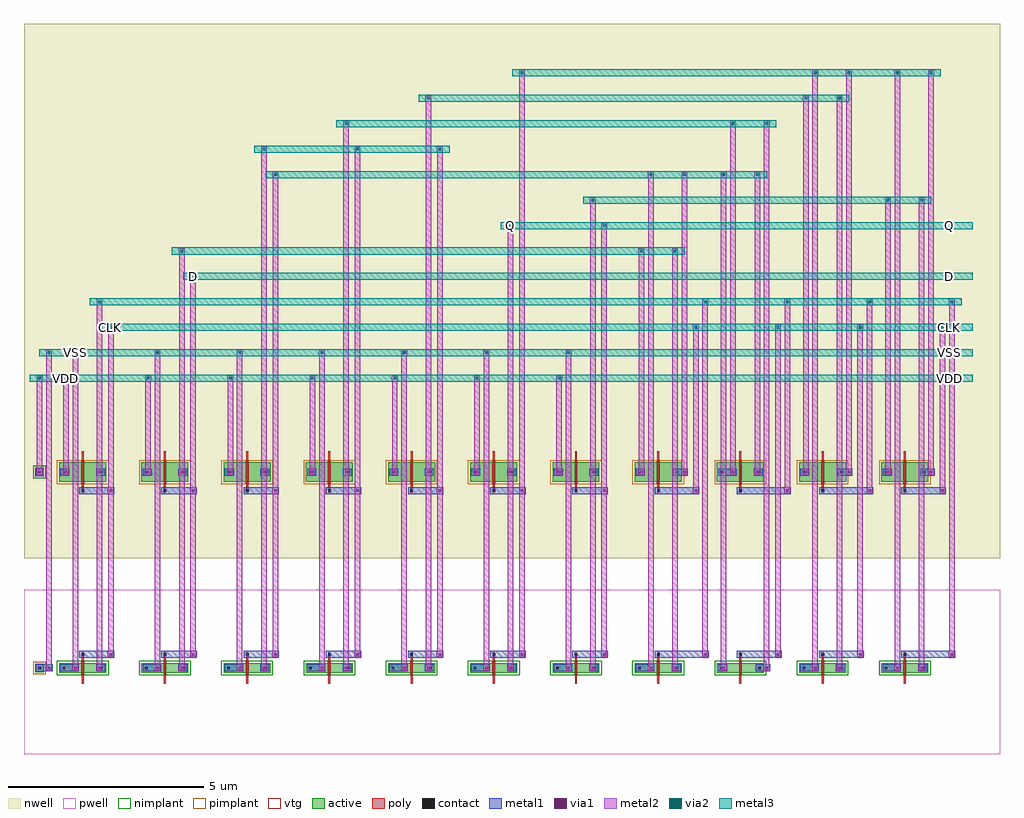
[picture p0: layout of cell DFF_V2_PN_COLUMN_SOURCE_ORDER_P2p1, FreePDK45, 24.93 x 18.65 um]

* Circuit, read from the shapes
.subckt DFF_V2_PN_COLUMN_SOURCE_ORDER_P2p1 CLK D Q VDD VSS
M1 n1 CLK VSS VSS nfet w=0.25u l=0.05u
M2 n2 D VSS VSS nfet w=0.25u l=0.05u
M3 n3 n4 VSS VSS nfet w=0.25u l=0.05u
M4 n5 n3 VSS VSS nfet w=0.25u l=0.05u
M5 n6 n3 VSS VSS nfet w=0.25u l=0.05u
M6 Q n7 VSS VSS nfet w=0.25u l=0.05u
M7 n8 Q VSS VSS nfet w=0.25u l=0.05u
M8 n2 n1 n4 VSS nfet w=0.25u l=0.05u
M9 n5 CLK n4 VSS nfet w=0.25u l=0.05u
M10 n6 CLK n7 VSS nfet w=0.25u l=0.05u
M11 n8 n1 n7 VSS nfet w=0.25u l=0.05u
M12 n1 CLK VDD VDD pfet w=0.5u l=0.05u
M13 n2 D VDD VDD pfet w=0.5u l=0.05u
M14 n3 n4 VDD VDD pfet w=0.5u l=0.05u
M15 n5 n3 VDD VDD pfet w=0.5u l=0.05u
M16 n6 n3 VDD VDD pfet w=0.5u l=0.05u
M17 Q n7 VDD VDD pfet w=0.5u l=0.05u
M18 n8 Q VDD VDD pfet w=0.5u l=0.05u
M19 n4 CLK n2 VDD pfet w=0.5u l=0.05u
M20 n4 n1 n5 VDD pfet w=0.5u l=0.05u
M21 n7 n1 n6 VDD pfet w=0.5u l=0.05u
M22 n7 CLK n8 VDD pfet w=0.5u l=0.05u
.ends

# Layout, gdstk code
import gdstk
lib = gdstk.Library(unit=1e-6, precision=5e-10)
def R(c, l, rs):  # rectangles x0, y0, x1, y1
    for r in rs: c.add(gdstk.rectangle(r[:2], r[2:], *l))
def A(c, l, x, y, w, h, nx, ny, dx, dy):  # array of equal rectangles
    R(c, l, [(x+i*dx, y+j*dy, x+i*dx+w, y+j*dy+h) for i in range(nx) for j in range(ny)])
active = (1, 0)
pwell = (2, 0)
nwell = (3, 0)
nimplant = (4, 0)
pimplant = (5, 0)
vtg = (6, 0)
poly = (9, 0)
contact = (10, 0)
metal1 = (11, 0)
via1 = (12, 0)
metal2 = (13, 0)
via2 = (14, 0)
metal3 = (15, 0)

dff_v2_pn_column_source_ = lib.new_cell('DFF_V2_PN_COLUMN_SOURCE_ORDER_P2p1')
A(dff_v2_pn_column_source_, active, 0.6, 1.875, 1.2, 0.25, 11, 1, 2.1, 0)
A(dff_v2_pn_column_source_, active, 0.6, 6.75, 1.2, 0.5, 11, 1, 2.1, 0)
R(dff_v2_pn_column_source_, active, [(-0.01,1.89,0.21,2.11), (-0.01,6.89,0.21,7.11)])
R(dff_v2_pn_column_source_, pwell, [(-0.3,-0.2,24.63,4)])
R(dff_v2_pn_column_source_, nwell, [(-0.3,4.8,24.63,18.45)])
A(dff_v2_pn_column_source_, nimplant, 0.54, 1.815, 1.32, 0.37, 11, 1, 2.1, 0)
R(dff_v2_pn_column_source_, nimplant, [(-0.06,6.84,0.26,7.16)])
A(dff_v2_pn_column_source_, pimplant, 0.54, 6.69, 1.32, 0.62, 11, 1, 2.1, 0)
R(dff_v2_pn_column_source_, pimplant, [(-0.06,1.84,0.26,2.16)])
A(dff_v2_pn_column_source_, vtg, 1.165, 1.845, 0.07, 0.31, 11, 1, 2.1, 0)
A(dff_v2_pn_column_source_, vtg, 1.165, 6.72, 0.07, 0.56, 11, 1, 2.1, 0)
A(dff_v2_pn_column_source_, poly, 1.175, 1.595, 0.05, 0.81, 11, 1, 2.1, 0)
A(dff_v2_pn_column_source_, poly, 1.175, 6.47, 0.05, 1.06, 11, 1, 2.1, 0)
A(dff_v2_pn_column_source_, contact, 1.17, 2.315, 0.065, 0.065, 11, 2, 2.1, 4.185)
R(dff_v2_pn_column_source_, contact, [(0.07,1.97,0.135,2.035), (0.69,1.97,0.755,2.035), (1.65,1.97,1.715,2.035), (2.79,1.97,2.855,2.035), (3.75,1.97,3.815,2.035), (4.89,1.97,4.955,2.035), (5.85,1.97,5.915,2.035), (6.99,1.97,7.055,2.035), (7.95,1.97,8.015,2.035), (9.09,1.97,9.155,2.035), (10.05,1.97,10.115,2.035), (11.19,1.97,11.255,2.035), (12.15,1.97,12.215,2.035), (13.29,1.97,13.355,2.035), (14.25,1.97,14.315,2.035), (15.39,1.97,15.455,2.035), (16.35,1.97,16.415,2.035), (17.49,1.97,17.555,2.035), (18.45,1.97,18.515,2.035), (19.59,1.97,19.655,2.035), (20.55,1.97,20.615,2.035), (21.69,1.97,21.755,2.035), (22.65,1.97,22.715,2.035), (0.07,6.97,0.135,7.035), (0.69,6.97,0.755,7.035), (1.65,6.97,1.715,7.035), (2.79,6.97,2.855,7.035), (3.75,6.97,3.815,7.035), (4.89,6.97,4.955,7.035), (5.85,6.97,5.915,7.035), (6.99,6.97,7.055,7.035), (7.95,6.97,8.015,7.035), (9.09,6.97,9.155,7.035), (10.05,6.97,10.115,7.035), (11.19,6.97,11.255,7.035), (12.15,6.97,12.215,7.035), (13.29,6.97,13.355,7.035), (14.25,6.97,14.315,7.035), (15.39,6.97,15.455,7.035), (16.35,6.97,16.415,7.035), (17.49,6.97,17.555,7.035), (18.45,6.97,18.515,7.035), (19.59,6.97,19.655,7.035), (20.55,6.97,20.615,7.035), (21.69,6.97,21.755,7.035), (22.65,6.97,22.715,7.035)])
A(dff_v2_pn_column_source_, metal1, 0.77, 1.91, 0.24, 0.18, 8, 1, 2.1, 0)
A(dff_v2_pn_column_source_, metal1, 1.2, 2.255, 0.72, 0.18, 7, 2, 2.1, 4.185)
R(dff_v2_pn_column_source_, metal1, [(0,1.9,0.2,2.1), (0.1,1.91,0.34,2.09), (0.1,1.91,0.34,2.09), (0.1,1.91,0.34,2.09), (0.1,1.91,0.34,2.09), (0.1,1.91,0.34,2.09), (0.1,1.91,0.34,2.09), (0.1,1.91,0.34,2.09), (0.1,1.91,0.34,2.09), (0.1,1.91,0.34,2.09), (0.1,1.91,0.34,2.09), (0.1,1.91,0.34,2.09), (0.1,1.91,0.34,2.09), (0.25,1.91,0.43,2.09), (0.25,1.91,0.43,2.09), (0.25,1.91,0.43,2.09), (0.25,1.91,0.43,2.09), (0.25,1.91,0.43,2.09), (0.25,1.91,0.43,2.09), (0.25,1.91,0.43,2.09), (0.25,1.91,0.43,2.09), (0.25,1.91,0.43,2.09), (0.25,1.91,0.43,2.09), (0.25,1.91,0.43,2.09), (0.25,1.91,0.43,2.09), (0.63,1.91,0.81,2.09), (0.92,1.91,1.1,2.09), (1.54,1.91,1.72,2.09), (1.59,1.91,1.77,2.09), (2.73,1.91,2.91,2.09), (3.02,1.91,3.2,2.09), (3.64,1.91,3.82,2.09), (3.69,1.91,3.87,2.09), (4.83,1.91,5.01,2.09), (5.12,1.91,5.3,2.09), (5.74,1.91,5.92,2.09), (5.79,1.91,5.97,2.09), (6.93,1.91,7.11,2.09), (7.22,1.91,7.4,2.09), (7.84,1.91,8.02,2.09), (7.89,1.91,8.07,2.09), (9.03,1.91,9.21,2.09), (9.32,1.91,9.5,2.09), (9.94,1.91,10.12,2.09), (9.99,1.91,10.17,2.09), (11.13,1.91,11.31,2.09), (11.42,1.91,11.6,2.09), (12.04,1.91,12.22,2.09), (12.09,1.91,12.27,2.09), (13.23,1.91,13.41,2.09), (13.52,1.91,13.7,2.09), (14.14,1.91,14.32,2.09), (14.19,1.91,14.37,2.09), (15.33,1.91,15.51,2.09), (15.62,1.91,15.8,2.09), (16.24,1.91,16.42,2.09), (16.29,1.91,16.47,2.09), (17.43,1.91,17.61,2.09), (17.48,1.91,17.66,2.09), (18.39,1.91,18.57,2.09), (18.43,1.91,18.67,2.09), (18.58,1.91,18.76,2.09), (19.53,1.91,19.71,2.09), (19.67,1.91,19.91,2.09), (19.82,1.91,20,2.09), (20.44,1.91,20.62,2.09), (20.49,1.91,20.67,2.09), (21.63,1.91,21.81,2.09), (21.77,1.91,22.01,2.09), (21.92,1.91,22.1,2.09), (22.54,1.91,22.72,2.09), (22.59,1.91,22.77,2.09), (1.11,2.255,1.29,2.435), (1.83,2.255,2.01,2.435), (3.21,2.255,3.39,2.435), (3.93,2.255,4.11,2.435), (5.31,2.255,5.49,2.435), (6.03,2.255,6.21,2.435), (7.41,2.255,7.59,2.435), (8.13,2.255,8.31,2.435), (9.51,2.255,9.69,2.435), (10.23,2.255,10.41,2.435), (11.61,2.255,11.79,2.435), (12.33,2.255,12.51,2.435), (13.71,2.255,13.89,2.435), (14.43,2.255,14.61,2.435), (15.81,2.255,15.99,2.435), (15.9,2.255,17.1,2.435), (17.01,2.255,17.19,2.435), (17.91,2.255,18.09,2.435), (18,2.255,18.96,2.435), (18.87,2.255,19.05,2.435), (20.01,2.255,20.19,2.435), (20.1,2.255,21.06,2.435), (20.97,2.255,21.15,2.435), (22.11,2.255,22.29,2.435), (22.2,2.255,23.4,2.435), (23.31,2.255,23.49,2.435), (1.11,6.44,1.29,6.62), (1.83,6.44,2.01,6.62), (3.21,6.44,3.39,6.62), (3.93,6.44,4.11,6.62), (5.31,6.44,5.49,6.62), (6.03,6.44,6.21,6.62), (7.41,6.44,7.59,6.62), (8.13,6.44,8.31,6.62), (9.51,6.44,9.69,6.62), (10.23,6.44,10.41,6.62), (11.61,6.44,11.79,6.62), (12.33,6.44,12.51,6.62), (13.71,6.44,13.89,6.62), (14.43,6.44,14.61,6.62), (15.81,6.44,15.99,6.62), (15.9,6.44,16.86,6.62), (16.77,6.44,16.95,6.62), (17.91,6.44,18.09,6.62), (18,6.44,19.2,6.62), (19.11,6.44,19.29,6.62), (20.01,6.44,20.19,6.62), (20.1,6.44,21.3,6.62), (21.21,6.44,21.39,6.62), (22.11,6.44,22.29,6.62), (22.2,6.44,23.16,6.62), (23.07,6.44,23.25,6.62), (0,6.9,0.2,7.1), (0.01,6.91,0.19,7.09), (0.01,6.91,0.19,7.09), (0.01,6.91,0.19,7.09), (0.01,6.91,0.19,7.09), (0.01,6.91,0.19,7.09), (0.01,6.91,0.19,7.09), (0.01,6.91,0.19,7.09), (0.01,6.91,0.19,7.09), (0.01,6.91,0.19,7.09), (0.01,6.91,0.19,7.09), (0.01,6.91,0.19,7.09), (0.01,6.91,0.19,7.09), (0.63,6.91,0.81,7.09), (0.68,6.91,0.86,7.09), (1.54,6.91,1.72,7.09), (1.59,6.91,1.77,7.09), (2.73,6.91,2.91,7.09), (2.78,6.91,2.96,7.09), (3.64,6.91,3.82,7.09), (3.69,6.91,3.87,7.09), (4.83,6.91,5.01,7.09), (4.88,6.91,5.06,7.09), (5.74,6.91,5.92,7.09), (5.79,6.91,5.97,7.09), (6.93,6.91,7.11,7.09), (6.98,6.91,7.16,7.09), (7.84,6.91,8.02,7.09), (7.89,6.91,8.07,7.09), (9.03,6.91,9.21,7.09), (9.08,6.91,9.26,7.09), (9.94,6.91,10.12,7.09), (9.99,6.91,10.17,7.09), (11.13,6.91,11.31,7.09), (11.18,6.91,11.36,7.09), (12.04,6.91,12.22,7.09), (12.09,6.91,12.27,7.09), (13.23,6.91,13.41,7.09), (13.28,6.91,13.46,7.09), (14.14,6.91,14.32,7.09), (14.19,6.91,14.37,7.09), (15.33,6.91,15.51,7.09), (15.38,6.91,15.56,7.09), (16.29,6.91,16.47,7.09), (16.33,6.91,16.57,7.09), (16.48,6.91,16.66,7.09), (17.43,6.91,17.61,7.09), (17.57,6.91,17.81,7.09), (17.72,6.91,17.9,7.09), (18.34,6.91,18.52,7.09), (18.39,6.91,18.57,7.09), (19.53,6.91,19.71,7.09), (19.58,6.91,19.76,7.09), (20.49,6.91,20.67,7.09), (20.53,6.91,20.77,7.09), (20.68,6.91,20.86,7.09), (21.63,6.91,21.81,7.09), (21.68,6.91,21.86,7.09), (22.59,6.91,22.77,7.09), (22.63,6.91,22.87,7.09), (22.78,6.91,22.96,7.09)])
A(dff_v2_pn_column_source_, via1, 1.89, 2.315, 0.065, 0.065, 7, 2, 2.1, 4.185)
R(dff_v2_pn_column_source_, via1, [(0.31,1.97,0.375,2.035), (0.31,1.97,0.375,2.035), (0.31,1.97,0.375,2.035), (0.31,1.97,0.375,2.035), (0.31,1.97,0.375,2.035), (0.31,1.97,0.375,2.035), (0.31,1.97,0.375,2.035), (0.31,1.97,0.375,2.035), (0.31,1.97,0.375,2.035), (0.31,1.97,0.375,2.035), (0.31,1.97,0.375,2.035), (0.31,1.97,0.375,2.035), (0.98,1.97,1.045,2.035), (1.6,1.97,1.665,2.035), (3.08,1.97,3.145,2.035), (3.7,1.97,3.765,2.035), (5.18,1.97,5.245,2.035), (5.8,1.97,5.865,2.035), (7.28,1.97,7.345,2.035), (7.9,1.97,7.965,2.035), (9.38,1.97,9.445,2.035), (10,1.97,10.065,2.035), (11.48,1.97,11.545,2.035), (12.1,1.97,12.165,2.035), (13.58,1.97,13.645,2.035), (14.2,1.97,14.265,2.035), (15.68,1.97,15.745,2.035), (16.3,1.97,16.365,2.035), (17.54,1.97,17.605,2.035), (18.64,1.97,18.705,2.035), (19.88,1.97,19.945,2.035), (20.5,1.97,20.565,2.035), (21.98,1.97,22.045,2.035), (22.6,1.97,22.665,2.035), (17.07,2.315,17.135,2.38), (18.93,2.315,18.995,2.38), (21.03,2.315,21.095,2.38), (23.37,2.315,23.435,2.38), (16.83,6.5,16.895,6.565), (19.17,6.5,19.235,6.565), (21.27,6.5,21.335,6.565), (23.13,6.5,23.195,6.565), (0.07,6.97,0.135,7.035), (0.07,6.97,0.135,7.035), (0.07,6.97,0.135,7.035), (0.07,6.97,0.135,7.035), (0.07,6.97,0.135,7.035), (0.07,6.97,0.135,7.035), (0.07,6.97,0.135,7.035), (0.07,6.97,0.135,7.035), (0.07,6.97,0.135,7.035), (0.07,6.97,0.135,7.035), (0.07,6.97,0.135,7.035), (0.07,6.97,0.135,7.035), (0.74,6.97,0.805,7.035), (1.6,6.97,1.665,7.035), (2.84,6.97,2.905,7.035), (3.7,6.97,3.765,7.035), (4.94,6.97,5.005,7.035), (5.8,6.97,5.865,7.035), (7.04,6.97,7.105,7.035), (7.9,6.97,7.965,7.035), (9.14,6.97,9.205,7.035), (10,6.97,10.065,7.035), (11.24,6.97,11.305,7.035), (12.1,6.97,12.165,7.035), (13.34,6.97,13.405,7.035), (14.2,6.97,14.265,7.035), (15.44,6.97,15.505,7.035), (16.54,6.97,16.605,7.035), (17.78,6.97,17.845,7.035), (18.4,6.97,18.465,7.035), (19.64,6.97,19.705,7.035), (20.74,6.97,20.805,7.035), (21.74,6.97,21.805,7.035), (22.84,6.97,22.905,7.035)])
A(dff_v2_pn_column_source_, metal2, 0.94, 2, 0.14, 8.05, 7, 1, 2.1, 0)
A(dff_v2_pn_column_source_, metal2, 1.845, 2.27, 0.15, 0.15, 7, 2, 2.1, 4.185)
A(dff_v2_pn_column_source_, metal2, 0.7, 7, 0.14, 2.4, 7, 1, 2.1, 0)
A(dff_v2_pn_column_source_, metal2, 0.695, 9.325, 0.15, 0.15, 7, 1, 2.1, 0)
A(dff_v2_pn_column_source_, metal2, 0.935, 9.975, 0.15, 0.15, 7, 1, 2.1, 0)
A(dff_v2_pn_column_source_, metal2, 16.785, 10.625, 0.15, 0.15, 4, 1, 2.1, 0)
A(dff_v2_pn_column_source_, metal2, 17.025, 11.275, 0.15, 0.15, 4, 1, 2.1, 0)
R(dff_v2_pn_column_source_, metal2, [(0.265,1.925,0.415,2.075), (0.265,1.925,0.415,2.075), (0.265,1.925,0.415,2.075), (0.265,1.925,0.415,2.075), (0.265,1.925,0.415,2.075), (0.265,1.925,0.415,2.075), (0.265,1.925,0.415,2.075), (0.265,1.925,0.415,2.075), (0.265,1.925,0.415,2.075), (0.265,1.925,0.415,2.075), (0.265,1.925,0.415,2.075), (0.265,1.925,0.415,2.075), (0.935,1.925,1.085,2.075), (1.555,1.925,1.705,2.075), (3.035,1.925,3.185,2.075), (3.655,1.925,3.805,2.075), (5.135,1.925,5.285,2.075), (5.755,1.925,5.905,2.075), (7.235,1.925,7.385,2.075), (7.855,1.925,8.005,2.075), (9.335,1.925,9.485,2.075), (9.955,1.925,10.105,2.075), (11.435,1.925,11.585,2.075), (12.055,1.925,12.205,2.075), (13.535,1.925,13.685,2.075), (14.155,1.925,14.305,2.075), (15.635,1.925,15.785,2.075), (16.255,1.925,16.405,2.075), (17.495,1.925,17.645,2.075), (18.595,1.925,18.745,2.075), (19.835,1.925,19.985,2.075), (20.455,1.925,20.605,2.075), (21.935,1.925,22.085,2.075), (22.555,1.925,22.705,2.075), (0.27,2,0.41,10.05), (0.27,2,0.41,10.05), (0.27,2,0.41,10.05), (0.27,2,0.41,10.05), (0.27,2,0.41,10.05), (0.27,2,0.41,10.05), (0.27,2,0.41,10.05), (0.27,2,0.41,10.05), (0.27,2,0.41,10.05), (0.27,2,0.41,10.05), (0.27,2,0.41,10.05), (0.27,2,0.41,10.05), (1.56,2,1.7,11.35), (3.66,2,3.8,12.65), (5.76,2,5.9,15.25), (7.86,2,8,15.9), (9.96,2,10.1,16.55), (12.06,2,12.2,13.3), (14.16,2,14.3,13.95), (15.64,2,15.78,14.6), (16.26,2,16.4,12.65), (17.5,2,17.64,14.6), (18.6,2,18.74,15.9), (19.84,2,19.98,17.2), (20.46,2,20.6,16.55), (21.94,2,22.08,17.2), (22.56,2,22.7,13.95), (17.025,2.27,17.175,2.42), (18.885,2.27,19.035,2.42), (20.985,2.27,21.135,2.42), (23.325,2.27,23.475,2.42), (1.85,2.345,1.99,10.7), (3.95,2.345,4.09,12), (6.05,2.345,6.19,14.6), (8.15,2.345,8.29,15.25), (10.25,2.345,10.39,15.25), (12.35,2.345,12.49,17.2), (14.45,2.345,14.59,13.3), (17.03,2.345,17.17,11.35), (18.89,2.345,19.03,10.7), (20.99,2.345,21.13,10.7), (23.33,2.345,23.47,11.35), (16.785,6.455,16.935,6.605), (19.125,6.455,19.275,6.605), (21.225,6.455,21.375,6.605), (23.085,6.455,23.235,6.605), (1.85,6.53,1.99,10.7), (3.95,6.53,4.09,12), (6.05,6.53,6.19,14.6), (8.15,6.53,8.29,15.25), (10.25,6.53,10.39,15.25), (12.35,6.53,12.49,17.2), (14.45,6.53,14.59,13.3), (16.79,6.53,16.93,10.7), (19.13,6.53,19.27,11.35), (21.23,6.53,21.37,11.35), (23.09,6.53,23.23,10.7), (0.025,6.925,0.175,7.075), (0.025,6.925,0.175,7.075), (0.025,6.925,0.175,7.075), (0.025,6.925,0.175,7.075), (0.025,6.925,0.175,7.075), (0.025,6.925,0.175,7.075), (0.025,6.925,0.175,7.075), (0.025,6.925,0.175,7.075), (0.025,6.925,0.175,7.075), (0.025,6.925,0.175,7.075), (0.025,6.925,0.175,7.075), (0.025,6.925,0.175,7.075), (0.695,6.925,0.845,7.075), (1.555,6.925,1.705,7.075), (2.795,6.925,2.945,7.075), (3.655,6.925,3.805,7.075), (4.895,6.925,5.045,7.075), (5.755,6.925,5.905,7.075), (6.995,6.925,7.145,7.075), (7.855,6.925,8.005,7.075), (9.095,6.925,9.245,7.075), (9.955,6.925,10.105,7.075), (11.195,6.925,11.345,7.075), (12.055,6.925,12.205,7.075), (13.295,6.925,13.445,7.075), (14.155,6.925,14.305,7.075), (15.395,6.925,15.545,7.075), (16.495,6.925,16.645,7.075), (17.735,6.925,17.885,7.075), (18.355,6.925,18.505,7.075), (19.595,6.925,19.745,7.075), (20.695,6.925,20.845,7.075), (21.695,6.925,21.845,7.075), (22.795,6.925,22.945,7.075), (0.03,7,0.17,9.4), (0.03,7,0.17,9.4), (0.03,7,0.17,9.4), (0.03,7,0.17,9.4), (0.03,7,0.17,9.4), (0.03,7,0.17,9.4), (0.03,7,0.17,9.4), (0.03,7,0.17,9.4), (0.03,7,0.17,9.4), (0.03,7,0.17,9.4), (0.03,7,0.17,9.4), (0.03,7,0.17,9.4), (1.56,7,1.7,11.35), (3.66,7,3.8,12.65), (5.76,7,5.9,15.25), (7.86,7,8,15.9), (9.96,7,10.1,16.55), (12.06,7,12.2,13.3), (14.16,7,14.3,13.95), (15.4,7,15.54,12.65), (16.5,7,16.64,14.6), (17.74,7,17.88,15.9), (18.36,7,18.5,14.6), (19.6,7,19.74,16.55), (20.7,7,20.84,17.2), (21.7,7,21.84,13.95), (22.8,7,22.94,17.2), (0.025,9.325,0.175,9.475), (0.025,9.325,0.175,9.475), (0.025,9.325,0.175,9.475), (0.025,9.325,0.175,9.475), (0.025,9.325,0.175,9.475), (0.025,9.325,0.175,9.475), (0.025,9.325,0.175,9.475), (0.025,9.325,0.175,9.475), (0.025,9.325,0.175,9.475), (0.025,9.325,0.175,9.475), (0.025,9.325,0.175,9.475), (0.025,9.325,0.175,9.475), (0.265,9.975,0.415,10.125), (0.265,9.975,0.415,10.125), (0.265,9.975,0.415,10.125), (0.265,9.975,0.415,10.125), (0.265,9.975,0.415,10.125), (0.265,9.975,0.415,10.125), (0.265,9.975,0.415,10.125), (0.265,9.975,0.415,10.125), (0.265,9.975,0.415,10.125), (0.265,9.975,0.415,10.125), (0.265,9.975,0.415,10.125), (0.265,9.975,0.415,10.125), (1.845,10.625,1.995,10.775), (1.845,10.625,1.995,10.775), (1.555,11.275,1.705,11.425), (1.555,11.275,1.705,11.425), (3.945,11.925,4.095,12.075), (3.945,11.925,4.095,12.075), (3.655,12.575,3.805,12.725), (3.655,12.575,3.805,12.725), (15.395,12.575,15.545,12.725), (16.255,12.575,16.405,12.725), (12.055,13.225,12.205,13.375), (12.055,13.225,12.205,13.375), (14.445,13.225,14.595,13.375), (14.445,13.225,14.595,13.375), (14.155,13.875,14.305,14.025), (14.155,13.875,14.305,14.025), (21.695,13.875,21.845,14.025), (22.555,13.875,22.705,14.025), (6.045,14.525,6.195,14.675), (6.045,14.525,6.195,14.675), (15.635,14.525,15.785,14.675), (16.495,14.525,16.645,14.675), (17.495,14.525,17.645,14.675), (18.355,14.525,18.505,14.675), (5.755,15.175,5.905,15.325), (5.755,15.175,5.905,15.325), (8.145,15.175,8.295,15.325), (8.145,15.175,8.295,15.325), (10.245,15.175,10.395,15.325), (10.245,15.175,10.395,15.325), (7.855,15.825,8.005,15.975), (7.855,15.825,8.005,15.975), (17.735,15.825,17.885,15.975), (18.595,15.825,18.745,15.975), (9.955,16.475,10.105,16.625), (9.955,16.475,10.105,16.625), (19.595,16.475,19.745,16.625), (20.455,16.475,20.605,16.625), (12.345,17.125,12.495,17.275), (12.345,17.125,12.495,17.275), (19.835,17.125,19.985,17.275), (20.695,17.125,20.845,17.275), (21.935,17.125,22.085,17.275), (22.795,17.125,22.945,17.275)])
A(dff_v2_pn_column_source_, via2, 0.74, 9.37, 0.065, 0.065, 7, 1, 2.1, 0)
A(dff_v2_pn_column_source_, via2, 0.98, 10.02, 0.065, 0.065, 7, 1, 2.1, 0)
A(dff_v2_pn_column_source_, via2, 16.83, 10.67, 0.065, 0.065, 4, 1, 2.1, 0)
A(dff_v2_pn_column_source_, via2, 17.07, 11.32, 0.065, 0.065, 4, 1, 2.1, 0)
R(dff_v2_pn_column_source_, via2, [(0.07,9.37,0.135,9.435), (0.07,9.37,0.135,9.435), (0.07,9.37,0.135,9.435), (0.07,9.37,0.135,9.435), (0.07,9.37,0.135,9.435), (0.07,9.37,0.135,9.435), (0.07,9.37,0.135,9.435), (0.07,9.37,0.135,9.435), (0.07,9.37,0.135,9.435), (0.07,9.37,0.135,9.435), (0.07,9.37,0.135,9.435), (0.07,9.37,0.135,9.435), (0.31,10.02,0.375,10.085), (0.31,10.02,0.375,10.085), (0.31,10.02,0.375,10.085), (0.31,10.02,0.375,10.085), (0.31,10.02,0.375,10.085), (0.31,10.02,0.375,10.085), (0.31,10.02,0.375,10.085), (0.31,10.02,0.375,10.085), (0.31,10.02,0.375,10.085), (0.31,10.02,0.375,10.085), (0.31,10.02,0.375,10.085), (0.31,10.02,0.375,10.085), (1.89,10.67,1.955,10.735), (1.89,10.67,1.955,10.735), (1.6,11.32,1.665,11.385), (1.6,11.32,1.665,11.385), (3.99,11.97,4.055,12.035), (3.99,11.97,4.055,12.035), (3.7,12.62,3.765,12.685), (3.7,12.62,3.765,12.685), (15.44,12.62,15.505,12.685), (16.3,12.62,16.365,12.685), (12.1,13.27,12.165,13.335), (12.1,13.27,12.165,13.335), (14.49,13.27,14.555,13.335), (14.49,13.27,14.555,13.335), (14.2,13.92,14.265,13.985), (14.2,13.92,14.265,13.985), (21.74,13.92,21.805,13.985), (22.6,13.92,22.665,13.985), (6.09,14.57,6.155,14.635), (6.09,14.57,6.155,14.635), (15.68,14.57,15.745,14.635), (16.54,14.57,16.605,14.635), (17.54,14.57,17.605,14.635), (18.4,14.57,18.465,14.635), (5.8,15.22,5.865,15.285), (5.8,15.22,5.865,15.285), (8.19,15.22,8.255,15.285), (8.19,15.22,8.255,15.285), (10.29,15.22,10.355,15.285), (10.29,15.22,10.355,15.285), (7.9,15.87,7.965,15.935), (7.9,15.87,7.965,15.935), (17.78,15.87,17.845,15.935), (18.64,15.87,18.705,15.935), (10,16.52,10.065,16.585), (10,16.52,10.065,16.585), (19.64,16.52,19.705,16.585), (20.5,16.52,20.565,16.585), (12.39,17.17,12.455,17.235), (12.39,17.17,12.455,17.235), (19.88,17.17,19.945,17.235), (20.74,17.17,20.805,17.235), (21.98,17.17,22.045,17.235), (22.84,17.17,22.905,17.235)])
A(dff_v2_pn_column_source_, metal3, 0.695, 9.325, 0.15, 0.15, 7, 1, 2.1, 0)
A(dff_v2_pn_column_source_, metal3, 0.935, 9.975, 0.15, 0.15, 7, 1, 2.1, 0)
A(dff_v2_pn_column_source_, metal3, 16.785, 10.625, 0.15, 0.15, 4, 1, 2.1, 0)
A(dff_v2_pn_column_source_, metal3, 17.025, 11.275, 0.15, 0.15, 4, 1, 2.1, 0)
R(dff_v2_pn_column_source_, metal3, [(-0.15,9.31,13.62,9.49), (13.62,9.31,23.93,9.49), (0.025,9.325,0.175,9.475), (0.025,9.325,0.175,9.475), (0.025,9.325,0.175,9.475), (0.025,9.325,0.175,9.475), (0.025,9.325,0.175,9.475), (0.025,9.325,0.175,9.475), (0.025,9.325,0.175,9.475), (0.025,9.325,0.175,9.475), (0.025,9.325,0.175,9.475), (0.025,9.325,0.175,9.475), (0.025,9.325,0.175,9.475), (0.025,9.325,0.175,9.475), (0.09,9.96,13.86,10.14), (13.86,9.96,23.93,10.14), (0.265,9.975,0.415,10.125), (0.265,9.975,0.415,10.125), (0.265,9.975,0.415,10.125), (0.265,9.975,0.415,10.125), (0.265,9.975,0.415,10.125), (0.265,9.975,0.415,10.125), (0.265,9.975,0.415,10.125), (0.265,9.975,0.415,10.125), (0.265,9.975,0.415,10.125), (0.265,9.975,0.415,10.125), (0.265,9.975,0.415,10.125), (0.265,9.975,0.415,10.125), (1.67,10.61,23.41,10.79), (23.41,10.61,23.93,10.79), (1.845,10.625,1.995,10.775), (1.845,10.625,1.995,10.775), (1.38,11.26,23.65,11.44), (1.555,11.275,1.705,11.425), (1.555,11.275,1.705,11.425), (3.77,11.91,4.27,12.09), (4.27,11.91,23.93,12.09), (3.945,11.925,4.095,12.075), (3.945,11.925,4.095,12.075), (3.48,12.56,16.58,12.74), (3.655,12.575,3.805,12.725), (3.655,12.575,3.805,12.725), (15.395,12.575,15.545,12.725), (16.255,12.575,16.405,12.725), (11.88,13.21,14.77,13.39), (14.77,13.21,23.93,13.39), (12.055,13.225,12.205,13.375), (12.055,13.225,12.205,13.375), (14.445,13.225,14.595,13.375), (14.445,13.225,14.595,13.375), (13.98,13.86,22.88,14.04), (14.155,13.875,14.305,14.025), (14.155,13.875,14.305,14.025), (21.695,13.875,21.845,14.025), (22.555,13.875,22.705,14.025), (5.87,14.51,18.68,14.69), (6.045,14.525,6.195,14.675), (6.045,14.525,6.195,14.675), (15.635,14.525,15.785,14.675), (16.495,14.525,16.645,14.675), (17.495,14.525,17.645,14.675), (18.355,14.525,18.505,14.675), (5.58,15.16,10.57,15.34), (5.755,15.175,5.905,15.325), (5.755,15.175,5.905,15.325), (8.145,15.175,8.295,15.325), (8.145,15.175,8.295,15.325), (10.245,15.175,10.395,15.325), (10.245,15.175,10.395,15.325), (7.68,15.81,18.92,15.99), (7.855,15.825,8.005,15.975), (7.855,15.825,8.005,15.975), (17.735,15.825,17.885,15.975), (18.595,15.825,18.745,15.975), (9.78,16.46,20.78,16.64), (9.955,16.475,10.105,16.625), (9.955,16.475,10.105,16.625), (19.595,16.475,19.745,16.625), (20.455,16.475,20.605,16.625), (12.17,17.11,23.12,17.29), (12.345,17.125,12.495,17.275), (12.345,17.125,12.495,17.275), (19.835,17.125,19.985,17.275), (20.695,17.125,20.845,17.275), (21.935,17.125,22.085,17.275), (22.795,17.125,22.945,17.275)])
dff_v2_pn_column_source_.add(gdstk.Label('VDD', (23.33,9.4), layer=15, texttype=0))
dff_v2_pn_column_source_.add(gdstk.Label('VDD', (23.33,9.4), layer=15, texttype=1))
dff_v2_pn_column_source_.add(gdstk.Label('VDD', (23.33,9.4), layer=15, texttype=2))
dff_v2_pn_column_source_.add(gdstk.Label('VDD', (0.77,9.4), layer=13, texttype=0))
dff_v2_pn_column_source_.add(gdstk.Label('VDD', (0.77,9.4), layer=13, texttype=1))
dff_v2_pn_column_source_.add(gdstk.Label('VDD', (0.77,9.4), layer=13, texttype=2))
dff_v2_pn_column_source_.add(gdstk.Label('VSS', (23.33,10.05), layer=15, texttype=0))
dff_v2_pn_column_source_.add(gdstk.Label('VSS', (23.33,10.05), layer=15, texttype=1))
dff_v2_pn_column_source_.add(gdstk.Label('VSS', (23.33,10.05), layer=15, texttype=2))
dff_v2_pn_column_source_.add(gdstk.Label('VSS', (1.01,10.05), layer=13, texttype=0))
dff_v2_pn_column_source_.add(gdstk.Label('VSS', (1.01,10.05), layer=13, texttype=1))
dff_v2_pn_column_source_.add(gdstk.Label('VSS', (1.01,10.05), layer=13, texttype=2))
dff_v2_pn_column_source_.add(gdstk.Label('D', (23.33,12), layer=15, texttype=0))
dff_v2_pn_column_source_.add(gdstk.Label('D', (23.33,12), layer=15, texttype=1))
dff_v2_pn_column_source_.add(gdstk.Label('D', (23.33,12), layer=15, texttype=2))
dff_v2_pn_column_source_.add(gdstk.Label('D', (4.02,12), layer=13, texttype=0))
dff_v2_pn_column_source_.add(gdstk.Label('D', (4.02,12), layer=13, texttype=1))
dff_v2_pn_column_source_.add(gdstk.Label('D', (4.02,12), layer=13, texttype=2))
dff_v2_pn_column_source_.add(gdstk.Label('Q', (23.33,13.3), layer=15, texttype=0))
dff_v2_pn_column_source_.add(gdstk.Label('Q', (23.33,13.3), layer=15, texttype=1))
dff_v2_pn_column_source_.add(gdstk.Label('Q', (23.33,13.3), layer=15, texttype=2))
dff_v2_pn_column_source_.add(gdstk.Label('Q', (12.13,13.3), layer=13, texttype=0))
dff_v2_pn_column_source_.add(gdstk.Label('Q', (12.13,13.3), layer=13, texttype=1))
dff_v2_pn_column_source_.add(gdstk.Label('Q', (12.13,13.3), layer=13, texttype=2))
dff_v2_pn_column_source_.add(gdstk.Label('CLK', (23.33,10.7), layer=15, texttype=0))
dff_v2_pn_column_source_.add(gdstk.Label('CLK', (23.33,10.7), layer=15, texttype=1))
dff_v2_pn_column_source_.add(gdstk.Label('CLK', (23.33,10.7), layer=15, texttype=2))
dff_v2_pn_column_source_.add(gdstk.Label('CLK', (1.92,10.7), layer=13, texttype=0))
dff_v2_pn_column_source_.add(gdstk.Label('CLK', (1.92,10.7), layer=13, texttype=1))
dff_v2_pn_column_source_.add(gdstk.Label('CLK', (1.92,10.7), layer=13, texttype=2))

lib.write_gds('DFF_V2_PN_COLUMN_SOURCE_ORDER_P2p1.gds')
